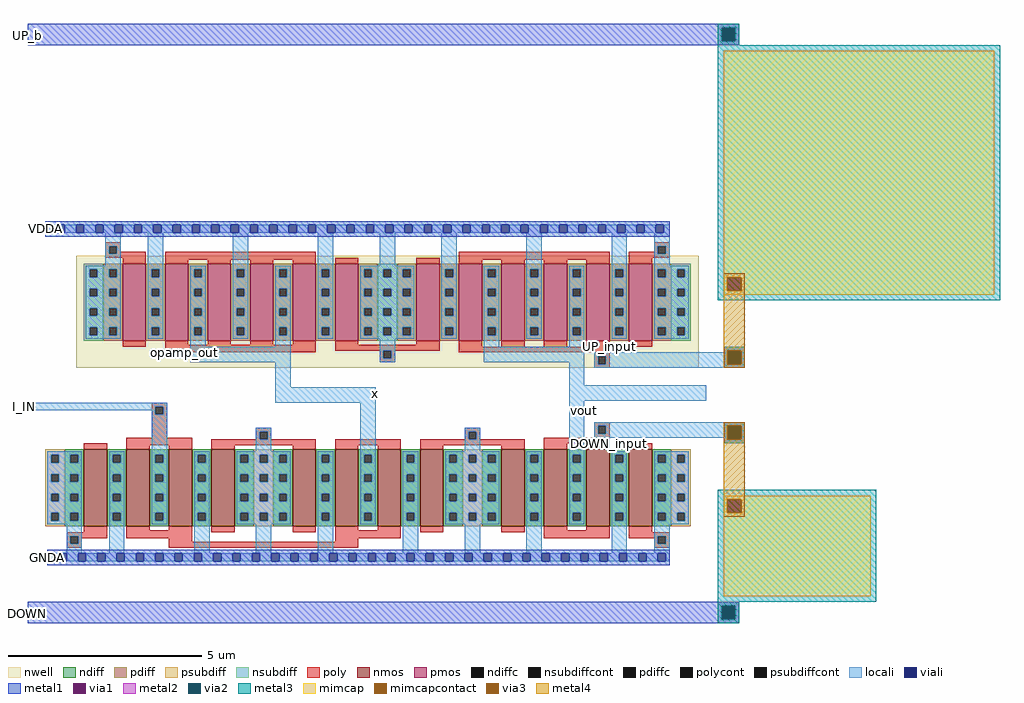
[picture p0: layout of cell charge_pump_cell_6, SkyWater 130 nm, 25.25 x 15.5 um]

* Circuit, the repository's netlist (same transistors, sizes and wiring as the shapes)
* NGSPICE file created from charge_pump_cell_6.ext - technology: sky130A

.subckt charge_pump_cell_6 VDDA GNDA x vout UP_b DOWN I_IN UP_input DOWN_input opamp_out
X0 x I_IN GNDA GNDA sky130_fd_pr__nfet_01v8 ad=0.5 pd=2.5 as=0.5 ps=2.5 w=2 l=0.6
X1 VDDA VDDA VDDA VDDA sky130_fd_pr__pfet_01v8 ad=1 pd=5 as=10 ps=50 w=2 l=0.6
X2 GNDA GNDA GNDA GNDA sky130_fd_pr__nfet_01v8 ad=0.5 pd=2.5 as=12 ps=60 w=2 l=0.6
X3 GNDA I_IN x GNDA sky130_fd_pr__nfet_01v8 ad=0.5 pd=2.5 as=0.5 ps=2.5 w=2 l=0.6
X4 UP_input li_22050_5610# sky130_fd_pr__cap_mim_m3_1 l=6.3 w=5.2
X5 GNDA GNDA GNDA GNDA sky130_fd_pr__nfet_01v8 ad=0.5 pd=2.5 as=0 ps=0 w=2 l=0.6
X6 GNDA GNDA GNDA GNDA sky130_fd_pr__nfet_01v8 ad=1 pd=5 as=0 ps=0 w=2 l=0.6
X7 VDDA VDDA VDDA VDDA sky130_fd_pr__pfet_01v8 ad=0.5 pd=2.5 as=0 ps=0 w=2 l=0.6
X8 vout DOWN_input GNDA GNDA sky130_fd_pr__nfet_01v8 ad=0.5 pd=2.5 as=0.5 ps=2.5 w=2 l=0.6
X9 GNDA DOWN_input vout GNDA sky130_fd_pr__nfet_01v8 ad=0.5 pd=2.5 as=0.5 ps=2.5 w=2 l=0.6
X10 GNDA GNDA GNDA GNDA sky130_fd_pr__nfet_01v8 ad=1 pd=5 as=0 ps=0 w=2 l=0.6
X11 x opamp_out VDDA VDDA sky130_fd_pr__pfet_01v8 ad=0.5 pd=2.5 as=0.5 ps=2.5 w=2 l=0.6
X12 GNDA I_IN I_IN GNDA sky130_fd_pr__nfet_01v8 ad=0.5 pd=2.5 as=0.5 ps=2.5 w=2 l=0.6
X13 VDDA VDDA VDDA VDDA sky130_fd_pr__pfet_01v8 ad=0.5 pd=2.5 as=0 ps=0 w=2 l=0.6
X14 VDDA VDDA VDDA VDDA sky130_fd_pr__pfet_01v8 ad=1 pd=5 as=0 ps=0 w=2 l=0.6
X15 VDDA opamp_out x VDDA sky130_fd_pr__pfet_01v8 ad=0.5 pd=2.5 as=0.5 ps=2.5 w=2 l=0.6
X16 I_IN I_IN GNDA GNDA sky130_fd_pr__nfet_01v8 ad=0.5 pd=2.5 as=0.5 ps=2.5 w=2 l=0.6
X17 vout UP_input VDDA VDDA sky130_fd_pr__pfet_01v8 ad=0.5 pd=2.5 as=0.5 ps=2.5 w=2 l=0.6
X18 VDDA UP_input vout VDDA sky130_fd_pr__pfet_01v8 ad=0.5 pd=2.5 as=0.5 ps=2.5 w=2 l=0.6
X19 x opamp_out VDDA VDDA sky130_fd_pr__pfet_01v8 ad=0.5 pd=2.5 as=0.5 ps=2.5 w=2 l=0.6
X20 GNDA GNDA GNDA GNDA sky130_fd_pr__nfet_01v8 ad=1 pd=5 as=0 ps=0 w=2 l=0.6
X21 VDDA opamp_out x VDDA sky130_fd_pr__pfet_01v8 ad=0.5 pd=2.5 as=0.5 ps=2.5 w=2 l=0.6
X22 VDDA UP_input vout VDDA sky130_fd_pr__pfet_01v8 ad=0.5 pd=2.5 as=0.5 ps=2.5 w=2 l=0.6
X23 DOWN_input li_22160_3230# sky130_fd_pr__cap_mim_m3_1 l=3.8 w=2.7
X24 GNDA GNDA GNDA GNDA sky130_fd_pr__nfet_01v8 ad=0.5 pd=2.5 as=0 ps=0 w=2 l=0.6
X25 vout UP_input VDDA VDDA sky130_fd_pr__pfet_01v8 ad=0.5 pd=2.5 as=0.5 ps=2.5 w=2 l=0.6
.ends

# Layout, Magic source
magic
tech sky130A
<< nwell >>
rect 9230 2215 10840 2505
<< nmos >>
rect 9250 1805 9310 2005
rect 9360 1805 9420 2005
rect 9470 1805 9530 2005
rect 9580 1805 9640 2005
rect 9790 1805 9850 2005
rect 9900 1805 9960 2005
rect 10010 1805 10070 2005
rect 10120 1805 10180 2005
rect 10330 1805 10390 2005
rect 10440 1805 10500 2005
rect 10550 1805 10610 2005
rect 10660 1805 10720 2005
<< pmos >>
rect 9350 2285 9410 2485
rect 9460 2285 9520 2485
rect 9570 2285 9630 2485
rect 9680 2285 9740 2485
rect 9790 2285 9850 2485
rect 9900 2285 9960 2485
rect 10110 2285 10170 2485
rect 10220 2285 10280 2485
rect 10330 2285 10390 2485
rect 10440 2285 10500 2485
rect 10550 2285 10610 2485
rect 10660 2285 10720 2485
<< ndiff >>
rect 9200 1990 9250 2005
rect 9200 1970 9215 1990
rect 9235 1970 9250 1990
rect 9200 1940 9250 1970
rect 9200 1920 9215 1940
rect 9235 1920 9250 1940
rect 9200 1890 9250 1920
rect 9200 1870 9215 1890
rect 9235 1870 9250 1890
rect 9200 1840 9250 1870
rect 9200 1820 9215 1840
rect 9235 1820 9250 1840
rect 9200 1805 9250 1820
rect 9310 1990 9360 2005
rect 9310 1970 9325 1990
rect 9345 1970 9360 1990
rect 9310 1940 9360 1970
rect 9310 1920 9325 1940
rect 9345 1920 9360 1940
rect 9310 1890 9360 1920
rect 9310 1870 9325 1890
rect 9345 1870 9360 1890
rect 9310 1840 9360 1870
rect 9310 1820 9325 1840
rect 9345 1820 9360 1840
rect 9310 1805 9360 1820
rect 9420 1990 9470 2005
rect 9420 1970 9435 1990
rect 9455 1970 9470 1990
rect 9420 1940 9470 1970
rect 9420 1920 9435 1940
rect 9455 1920 9470 1940
rect 9420 1890 9470 1920
rect 9420 1870 9435 1890
rect 9455 1870 9470 1890
rect 9420 1840 9470 1870
rect 9420 1820 9435 1840
rect 9455 1820 9470 1840
rect 9420 1805 9470 1820
rect 9530 1990 9580 2005
rect 9530 1970 9545 1990
rect 9565 1970 9580 1990
rect 9530 1940 9580 1970
rect 9530 1920 9545 1940
rect 9565 1920 9580 1940
rect 9530 1890 9580 1920
rect 9530 1870 9545 1890
rect 9565 1870 9580 1890
rect 9530 1840 9580 1870
rect 9530 1820 9545 1840
rect 9565 1820 9580 1840
rect 9530 1805 9580 1820
rect 9640 1990 9690 2005
rect 9740 1990 9790 2005
rect 9640 1970 9655 1990
rect 9675 1970 9690 1990
rect 9740 1970 9755 1990
rect 9775 1970 9790 1990
rect 9640 1940 9690 1970
rect 9740 1940 9790 1970
rect 9640 1920 9655 1940
rect 9675 1920 9690 1940
rect 9740 1920 9755 1940
rect 9775 1920 9790 1940
rect 9640 1890 9690 1920
rect 9740 1890 9790 1920
rect 9640 1870 9655 1890
rect 9675 1870 9690 1890
rect 9740 1870 9755 1890
rect 9775 1870 9790 1890
rect 9640 1840 9690 1870
rect 9740 1840 9790 1870
rect 9640 1820 9655 1840
rect 9675 1820 9690 1840
rect 9740 1820 9755 1840
rect 9775 1820 9790 1840
rect 9640 1805 9690 1820
rect 9740 1805 9790 1820
rect 9850 1990 9900 2005
rect 9850 1970 9865 1990
rect 9885 1970 9900 1990
rect 9850 1940 9900 1970
rect 9850 1920 9865 1940
rect 9885 1920 9900 1940
rect 9850 1890 9900 1920
rect 9850 1870 9865 1890
rect 9885 1870 9900 1890
rect 9850 1840 9900 1870
rect 9850 1820 9865 1840
rect 9885 1820 9900 1840
rect 9850 1805 9900 1820
rect 9960 1990 10010 2005
rect 9960 1970 9975 1990
rect 9995 1970 10010 1990
rect 9960 1940 10010 1970
rect 9960 1920 9975 1940
rect 9995 1920 10010 1940
rect 9960 1890 10010 1920
rect 9960 1870 9975 1890
rect 9995 1870 10010 1890
rect 9960 1840 10010 1870
rect 9960 1820 9975 1840
rect 9995 1820 10010 1840
rect 9960 1805 10010 1820
rect 10070 1990 10120 2005
rect 10070 1970 10085 1990
rect 10105 1970 10120 1990
rect 10070 1940 10120 1970
rect 10070 1920 10085 1940
rect 10105 1920 10120 1940
rect 10070 1890 10120 1920
rect 10070 1870 10085 1890
rect 10105 1870 10120 1890
rect 10070 1840 10120 1870
rect 10070 1820 10085 1840
rect 10105 1820 10120 1840
rect 10070 1805 10120 1820
rect 10180 1990 10230 2005
rect 10280 1990 10330 2005
rect 10180 1970 10195 1990
rect 10215 1970 10230 1990
rect 10280 1970 10295 1990
rect 10315 1970 10330 1990
rect 10180 1940 10230 1970
rect 10280 1940 10330 1970
rect 10180 1920 10195 1940
rect 10215 1920 10230 1940
rect 10280 1920 10295 1940
rect 10315 1920 10330 1940
rect 10180 1890 10230 1920
rect 10280 1890 10330 1920
rect 10180 1870 10195 1890
rect 10215 1870 10230 1890
rect 10280 1870 10295 1890
rect 10315 1870 10330 1890
rect 10180 1840 10230 1870
rect 10280 1840 10330 1870
rect 10180 1820 10195 1840
rect 10215 1820 10230 1840
rect 10280 1820 10295 1840
rect 10315 1820 10330 1840
rect 10180 1805 10230 1820
rect 10280 1805 10330 1820
rect 10390 1990 10440 2005
rect 10390 1970 10405 1990
rect 10425 1970 10440 1990
rect 10390 1940 10440 1970
rect 10390 1920 10405 1940
rect 10425 1920 10440 1940
rect 10390 1890 10440 1920
rect 10390 1870 10405 1890
rect 10425 1870 10440 1890
rect 10390 1840 10440 1870
rect 10390 1820 10405 1840
rect 10425 1820 10440 1840
rect 10390 1805 10440 1820
rect 10500 1990 10550 2005
rect 10500 1970 10515 1990
rect 10535 1970 10550 1990
rect 10500 1940 10550 1970
rect 10500 1920 10515 1940
rect 10535 1920 10550 1940
rect 10500 1890 10550 1920
rect 10500 1870 10515 1890
rect 10535 1870 10550 1890
rect 10500 1840 10550 1870
rect 10500 1820 10515 1840
rect 10535 1820 10550 1840
rect 10500 1805 10550 1820
rect 10610 1990 10660 2005
rect 10610 1970 10625 1990
rect 10645 1970 10660 1990
rect 10610 1940 10660 1970
rect 10610 1920 10625 1940
rect 10645 1920 10660 1940
rect 10610 1890 10660 1920
rect 10610 1870 10625 1890
rect 10645 1870 10660 1890
rect 10610 1840 10660 1870
rect 10610 1820 10625 1840
rect 10645 1820 10660 1840
rect 10610 1805 10660 1820
rect 10720 1990 10770 2005
rect 10720 1970 10735 1990
rect 10755 1970 10770 1990
rect 10720 1940 10770 1970
rect 10720 1920 10735 1940
rect 10755 1920 10770 1940
rect 10720 1890 10770 1920
rect 10720 1870 10735 1890
rect 10755 1870 10770 1890
rect 10720 1840 10770 1870
rect 10720 1820 10735 1840
rect 10755 1820 10770 1840
rect 10720 1805 10770 1820
<< pdiff >>
rect 9300 2470 9350 2485
rect 9300 2450 9315 2470
rect 9335 2450 9350 2470
rect 9300 2420 9350 2450
rect 9300 2400 9315 2420
rect 9335 2400 9350 2420
rect 9300 2370 9350 2400
rect 9300 2350 9315 2370
rect 9335 2350 9350 2370
rect 9300 2320 9350 2350
rect 9300 2300 9315 2320
rect 9335 2300 9350 2320
rect 9300 2285 9350 2300
rect 9410 2470 9460 2485
rect 9410 2450 9425 2470
rect 9445 2450 9460 2470
rect 9410 2420 9460 2450
rect 9410 2400 9425 2420
rect 9445 2400 9460 2420
rect 9410 2370 9460 2400
rect 9410 2350 9425 2370
rect 9445 2350 9460 2370
rect 9410 2320 9460 2350
rect 9410 2300 9425 2320
rect 9445 2300 9460 2320
rect 9410 2285 9460 2300
rect 9520 2470 9570 2485
rect 9520 2450 9535 2470
rect 9555 2450 9570 2470
rect 9520 2420 9570 2450
rect 9520 2400 9535 2420
rect 9555 2400 9570 2420
rect 9520 2370 9570 2400
rect 9520 2350 9535 2370
rect 9555 2350 9570 2370
rect 9520 2320 9570 2350
rect 9520 2300 9535 2320
rect 9555 2300 9570 2320
rect 9520 2285 9570 2300
rect 9630 2470 9680 2485
rect 9630 2450 9645 2470
rect 9665 2450 9680 2470
rect 9630 2420 9680 2450
rect 9630 2400 9645 2420
rect 9665 2400 9680 2420
rect 9630 2370 9680 2400
rect 9630 2350 9645 2370
rect 9665 2350 9680 2370
rect 9630 2320 9680 2350
rect 9630 2300 9645 2320
rect 9665 2300 9680 2320
rect 9630 2285 9680 2300
rect 9740 2470 9790 2485
rect 9740 2450 9755 2470
rect 9775 2450 9790 2470
rect 9740 2420 9790 2450
rect 9740 2400 9755 2420
rect 9775 2400 9790 2420
rect 9740 2370 9790 2400
rect 9740 2350 9755 2370
rect 9775 2350 9790 2370
rect 9740 2320 9790 2350
rect 9740 2300 9755 2320
rect 9775 2300 9790 2320
rect 9740 2285 9790 2300
rect 9850 2470 9900 2485
rect 9850 2450 9865 2470
rect 9885 2450 9900 2470
rect 9850 2420 9900 2450
rect 9850 2400 9865 2420
rect 9885 2400 9900 2420
rect 9850 2370 9900 2400
rect 9850 2350 9865 2370
rect 9885 2350 9900 2370
rect 9850 2320 9900 2350
rect 9850 2300 9865 2320
rect 9885 2300 9900 2320
rect 9850 2285 9900 2300
rect 9960 2470 10010 2485
rect 10060 2470 10110 2485
rect 9960 2450 9975 2470
rect 9995 2450 10010 2470
rect 10060 2450 10075 2470
rect 10095 2450 10110 2470
rect 9960 2420 10010 2450
rect 10060 2420 10110 2450
rect 9960 2400 9975 2420
rect 9995 2400 10010 2420
rect 10060 2400 10075 2420
rect 10095 2400 10110 2420
rect 9960 2370 10010 2400
rect 10060 2370 10110 2400
rect 9960 2350 9975 2370
rect 9995 2350 10010 2370
rect 10060 2350 10075 2370
rect 10095 2350 10110 2370
rect 9960 2320 10010 2350
rect 10060 2320 10110 2350
rect 9960 2300 9975 2320
rect 9995 2300 10010 2320
rect 10060 2300 10075 2320
rect 10095 2300 10110 2320
rect 9960 2285 10010 2300
rect 10060 2285 10110 2300
rect 10170 2470 10220 2485
rect 10170 2450 10185 2470
rect 10205 2450 10220 2470
rect 10170 2420 10220 2450
rect 10170 2400 10185 2420
rect 10205 2400 10220 2420
rect 10170 2370 10220 2400
rect 10170 2350 10185 2370
rect 10205 2350 10220 2370
rect 10170 2320 10220 2350
rect 10170 2300 10185 2320
rect 10205 2300 10220 2320
rect 10170 2285 10220 2300
rect 10280 2470 10330 2485
rect 10280 2450 10295 2470
rect 10315 2450 10330 2470
rect 10280 2420 10330 2450
rect 10280 2400 10295 2420
rect 10315 2400 10330 2420
rect 10280 2370 10330 2400
rect 10280 2350 10295 2370
rect 10315 2350 10330 2370
rect 10280 2320 10330 2350
rect 10280 2300 10295 2320
rect 10315 2300 10330 2320
rect 10280 2285 10330 2300
rect 10390 2470 10440 2485
rect 10390 2450 10405 2470
rect 10425 2450 10440 2470
rect 10390 2420 10440 2450
rect 10390 2400 10405 2420
rect 10425 2400 10440 2420
rect 10390 2370 10440 2400
rect 10390 2350 10405 2370
rect 10425 2350 10440 2370
rect 10390 2320 10440 2350
rect 10390 2300 10405 2320
rect 10425 2300 10440 2320
rect 10390 2285 10440 2300
rect 10500 2470 10550 2485
rect 10500 2450 10515 2470
rect 10535 2450 10550 2470
rect 10500 2420 10550 2450
rect 10500 2400 10515 2420
rect 10535 2400 10550 2420
rect 10500 2370 10550 2400
rect 10500 2350 10515 2370
rect 10535 2350 10550 2370
rect 10500 2320 10550 2350
rect 10500 2300 10515 2320
rect 10535 2300 10550 2320
rect 10500 2285 10550 2300
rect 10610 2470 10660 2485
rect 10610 2450 10625 2470
rect 10645 2450 10660 2470
rect 10610 2420 10660 2450
rect 10610 2400 10625 2420
rect 10645 2400 10660 2420
rect 10610 2370 10660 2400
rect 10610 2350 10625 2370
rect 10645 2350 10660 2370
rect 10610 2320 10660 2350
rect 10610 2300 10625 2320
rect 10645 2300 10660 2320
rect 10610 2285 10660 2300
rect 10720 2470 10770 2485
rect 10720 2450 10735 2470
rect 10755 2450 10770 2470
rect 10720 2420 10770 2450
rect 10720 2400 10735 2420
rect 10755 2400 10770 2420
rect 10720 2370 10770 2400
rect 10720 2350 10735 2370
rect 10755 2350 10770 2370
rect 10720 2320 10770 2350
rect 10720 2300 10735 2320
rect 10755 2300 10770 2320
rect 10720 2285 10770 2300
<< ndiffc >>
rect 9215 1970 9235 1990
rect 9215 1920 9235 1940
rect 9215 1870 9235 1890
rect 9215 1820 9235 1840
rect 9325 1970 9345 1990
rect 9325 1920 9345 1940
rect 9325 1870 9345 1890
rect 9325 1820 9345 1840
rect 9435 1970 9455 1990
rect 9435 1920 9455 1940
rect 9435 1870 9455 1890
rect 9435 1820 9455 1840
rect 9545 1970 9565 1990
rect 9545 1920 9565 1940
rect 9545 1870 9565 1890
rect 9545 1820 9565 1840
rect 9655 1970 9675 1990
rect 9755 1970 9775 1990
rect 9655 1920 9675 1940
rect 9755 1920 9775 1940
rect 9655 1870 9675 1890
rect 9755 1870 9775 1890
rect 9655 1820 9675 1840
rect 9755 1820 9775 1840
rect 9865 1970 9885 1990
rect 9865 1920 9885 1940
rect 9865 1870 9885 1890
rect 9865 1820 9885 1840
rect 9975 1970 9995 1990
rect 9975 1920 9995 1940
rect 9975 1870 9995 1890
rect 9975 1820 9995 1840
rect 10085 1970 10105 1990
rect 10085 1920 10105 1940
rect 10085 1870 10105 1890
rect 10085 1820 10105 1840
rect 10195 1970 10215 1990
rect 10295 1970 10315 1990
rect 10195 1920 10215 1940
rect 10295 1920 10315 1940
rect 10195 1870 10215 1890
rect 10295 1870 10315 1890
rect 10195 1820 10215 1840
rect 10295 1820 10315 1840
rect 10405 1970 10425 1990
rect 10405 1920 10425 1940
rect 10405 1870 10425 1890
rect 10405 1820 10425 1840
rect 10515 1970 10535 1990
rect 10515 1920 10535 1940
rect 10515 1870 10535 1890
rect 10515 1820 10535 1840
rect 10625 1970 10645 1990
rect 10625 1920 10645 1940
rect 10625 1870 10645 1890
rect 10625 1820 10645 1840
rect 10735 1970 10755 1990
rect 10735 1920 10755 1940
rect 10735 1870 10755 1890
rect 10735 1820 10755 1840
<< pdiffc >>
rect 9315 2450 9335 2470
rect 9315 2400 9335 2420
rect 9315 2350 9335 2370
rect 9315 2300 9335 2320
rect 9425 2450 9445 2470
rect 9425 2400 9445 2420
rect 9425 2350 9445 2370
rect 9425 2300 9445 2320
rect 9535 2450 9555 2470
rect 9535 2400 9555 2420
rect 9535 2350 9555 2370
rect 9535 2300 9555 2320
rect 9645 2450 9665 2470
rect 9645 2400 9665 2420
rect 9645 2350 9665 2370
rect 9645 2300 9665 2320
rect 9755 2450 9775 2470
rect 9755 2400 9775 2420
rect 9755 2350 9775 2370
rect 9755 2300 9775 2320
rect 9865 2450 9885 2470
rect 9865 2400 9885 2420
rect 9865 2350 9885 2370
rect 9865 2300 9885 2320
rect 9975 2450 9995 2470
rect 10075 2450 10095 2470
rect 9975 2400 9995 2420
rect 10075 2400 10095 2420
rect 9975 2350 9995 2370
rect 10075 2350 10095 2370
rect 9975 2300 9995 2320
rect 10075 2300 10095 2320
rect 10185 2450 10205 2470
rect 10185 2400 10205 2420
rect 10185 2350 10205 2370
rect 10185 2300 10205 2320
rect 10295 2450 10315 2470
rect 10295 2400 10315 2420
rect 10295 2350 10315 2370
rect 10295 2300 10315 2320
rect 10405 2450 10425 2470
rect 10405 2400 10425 2420
rect 10405 2350 10425 2370
rect 10405 2300 10425 2320
rect 10515 2450 10535 2470
rect 10515 2400 10535 2420
rect 10515 2350 10535 2370
rect 10515 2300 10535 2320
rect 10625 2450 10645 2470
rect 10625 2400 10645 2420
rect 10625 2350 10645 2370
rect 10625 2300 10645 2320
rect 10735 2450 10755 2470
rect 10735 2400 10755 2420
rect 10735 2350 10755 2370
rect 10735 2300 10755 2320
<< psubdiff >>
rect 9150 1990 9200 2005
rect 9150 1970 9165 1990
rect 9185 1970 9200 1990
rect 9150 1940 9200 1970
rect 9150 1920 9165 1940
rect 9185 1920 9200 1940
rect 9150 1890 9200 1920
rect 9150 1870 9165 1890
rect 9185 1870 9200 1890
rect 9150 1840 9200 1870
rect 9150 1820 9165 1840
rect 9185 1820 9200 1840
rect 9150 1805 9200 1820
rect 9690 1990 9740 2005
rect 9690 1970 9705 1990
rect 9725 1970 9740 1990
rect 9690 1940 9740 1970
rect 9690 1920 9705 1940
rect 9725 1920 9740 1940
rect 9690 1890 9740 1920
rect 9690 1870 9705 1890
rect 9725 1870 9740 1890
rect 9690 1840 9740 1870
rect 9690 1820 9705 1840
rect 9725 1820 9740 1840
rect 9690 1805 9740 1820
rect 10230 1990 10280 2005
rect 10230 1970 10245 1990
rect 10265 1970 10280 1990
rect 10230 1940 10280 1970
rect 10230 1920 10245 1940
rect 10265 1920 10280 1940
rect 10230 1890 10280 1920
rect 10230 1870 10245 1890
rect 10265 1870 10280 1890
rect 10230 1840 10280 1870
rect 10230 1820 10245 1840
rect 10265 1820 10280 1840
rect 10230 1805 10280 1820
rect 10770 1990 10820 2005
rect 10770 1970 10785 1990
rect 10805 1970 10820 1990
rect 10770 1940 10820 1970
rect 10770 1920 10785 1940
rect 10805 1920 10820 1940
rect 10770 1890 10820 1920
rect 10770 1870 10785 1890
rect 10805 1870 10820 1890
rect 10770 1840 10820 1870
rect 10770 1820 10785 1840
rect 10805 1820 10820 1840
rect 10770 1805 10820 1820
<< nsubdiff >>
rect 9250 2470 9300 2485
rect 9250 2450 9265 2470
rect 9285 2450 9300 2470
rect 9250 2420 9300 2450
rect 9250 2400 9265 2420
rect 9285 2400 9300 2420
rect 9250 2370 9300 2400
rect 9250 2350 9265 2370
rect 9285 2350 9300 2370
rect 9250 2320 9300 2350
rect 9250 2300 9265 2320
rect 9285 2300 9300 2320
rect 9250 2285 9300 2300
rect 10010 2470 10060 2485
rect 10010 2450 10025 2470
rect 10045 2450 10060 2470
rect 10010 2420 10060 2450
rect 10010 2400 10025 2420
rect 10045 2400 10060 2420
rect 10010 2370 10060 2400
rect 10010 2350 10025 2370
rect 10045 2350 10060 2370
rect 10010 2320 10060 2350
rect 10010 2300 10025 2320
rect 10045 2300 10060 2320
rect 10010 2285 10060 2300
rect 10770 2470 10820 2485
rect 10770 2450 10785 2470
rect 10805 2450 10820 2470
rect 10770 2420 10820 2450
rect 10770 2400 10785 2420
rect 10805 2400 10820 2420
rect 10770 2370 10820 2400
rect 10770 2350 10785 2370
rect 10805 2350 10820 2370
rect 10770 2320 10820 2350
rect 10770 2300 10785 2320
rect 10805 2300 10820 2320
rect 10770 2285 10820 2300
<< psubdiffcont >>
rect 9165 1970 9185 1990
rect 9165 1920 9185 1940
rect 9165 1870 9185 1890
rect 9165 1820 9185 1840
rect 9705 1970 9725 1990
rect 9705 1920 9725 1940
rect 9705 1870 9725 1890
rect 9705 1820 9725 1840
rect 10245 1970 10265 1990
rect 10245 1920 10265 1940
rect 10245 1870 10265 1890
rect 10245 1820 10265 1840
rect 10785 1970 10805 1990
rect 10785 1920 10805 1940
rect 10785 1870 10805 1890
rect 10785 1820 10805 1840
<< nsubdiffcont >>
rect 9265 2450 9285 2470
rect 9265 2400 9285 2420
rect 9265 2350 9285 2370
rect 9265 2300 9285 2320
rect 10025 2450 10045 2470
rect 10025 2400 10045 2420
rect 10025 2350 10045 2370
rect 10025 2300 10045 2320
rect 10785 2450 10805 2470
rect 10785 2400 10805 2420
rect 10785 2350 10805 2370
rect 10785 2300 10805 2320
<< poly >>
rect 9305 2530 9345 2540
rect 9305 2510 9315 2530
rect 9335 2515 9345 2530
rect 10725 2530 10765 2540
rect 10725 2515 10735 2530
rect 9335 2510 9410 2515
rect 9305 2500 9410 2510
rect 9350 2485 9410 2500
rect 9460 2495 9850 2515
rect 9460 2485 9520 2495
rect 9570 2485 9630 2495
rect 9680 2485 9740 2495
rect 9790 2485 9850 2495
rect 9900 2485 9960 2500
rect 10110 2485 10170 2500
rect 10220 2495 10610 2515
rect 10220 2485 10280 2495
rect 10330 2485 10390 2495
rect 10440 2485 10500 2495
rect 10550 2485 10610 2495
rect 10660 2510 10735 2515
rect 10755 2510 10765 2530
rect 10660 2500 10765 2510
rect 10660 2485 10720 2500
rect 9350 2270 9410 2285
rect 9460 2275 9520 2285
rect 9570 2275 9630 2285
rect 9680 2275 9740 2285
rect 9790 2275 9850 2285
rect 9460 2255 9850 2275
rect 9900 2275 9960 2285
rect 10110 2275 10170 2285
rect 9900 2260 10170 2275
rect 10220 2270 10280 2285
rect 10330 2270 10390 2285
rect 10440 2270 10500 2285
rect 10550 2270 10610 2285
rect 10660 2270 10720 2285
rect 10015 2240 10025 2260
rect 10045 2240 10055 2260
rect 10220 2255 10610 2270
rect 10015 2230 10055 2240
rect 10570 2245 10610 2255
rect 10570 2225 10580 2245
rect 10600 2225 10610 2245
rect 10570 2215 10610 2225
rect 9425 2115 9465 2125
rect 9425 2095 9435 2115
rect 9455 2095 9465 2115
rect 9425 2035 9465 2095
rect 10570 2065 10610 2075
rect 9695 2050 9735 2060
rect 9250 2005 9310 2020
rect 9360 2015 9530 2035
rect 9695 2030 9705 2050
rect 9725 2030 9735 2050
rect 10235 2050 10275 2060
rect 10235 2030 10245 2050
rect 10265 2030 10275 2050
rect 10570 2045 10580 2065
rect 10600 2045 10610 2065
rect 10570 2035 10610 2045
rect 9360 2005 9420 2015
rect 9470 2005 9530 2015
rect 9580 2015 9850 2030
rect 9580 2005 9640 2015
rect 9790 2005 9850 2015
rect 9900 2015 10070 2030
rect 9900 2005 9960 2015
rect 10010 2005 10070 2015
rect 10120 2015 10390 2030
rect 10120 2005 10180 2015
rect 10330 2005 10390 2015
rect 10440 2020 10610 2035
rect 10440 2005 10500 2020
rect 10550 2005 10610 2020
rect 10660 2005 10720 2020
rect 9250 1790 9310 1805
rect 9205 1780 9310 1790
rect 9205 1760 9215 1780
rect 9235 1775 9310 1780
rect 9360 1795 9420 1805
rect 9470 1795 9530 1805
rect 9360 1775 9530 1795
rect 9580 1790 9640 1805
rect 9790 1790 9850 1805
rect 9900 1795 9960 1805
rect 10010 1795 10070 1805
rect 9235 1760 9245 1775
rect 9205 1750 9245 1760
rect 9470 1765 9530 1775
rect 9900 1775 10070 1795
rect 10120 1790 10180 1805
rect 10330 1790 10390 1805
rect 10440 1795 10500 1805
rect 10550 1795 10610 1805
rect 10440 1775 10610 1795
rect 10660 1790 10720 1805
rect 10660 1780 10765 1790
rect 10660 1775 10735 1780
rect 9900 1765 9960 1775
rect 9470 1750 9960 1765
rect 10725 1760 10735 1775
rect 10755 1760 10765 1780
rect 10725 1750 10765 1760
<< polycont >>
rect 9315 2510 9335 2530
rect 10735 2510 10755 2530
rect 10025 2240 10045 2260
rect 10580 2225 10600 2245
rect 9435 2095 9455 2115
rect 9705 2030 9725 2050
rect 10245 2030 10265 2050
rect 10580 2045 10600 2065
rect 9215 1760 9235 1780
rect 10735 1760 10755 1780
<< locali >>
rect 10890 3095 10945 3105
rect 10890 3060 10900 3095
rect 10935 3060 10945 3095
rect 10890 3050 10945 3060
rect 9150 2565 9180 2585
rect 9200 2565 9230 2585
rect 9250 2565 9280 2585
rect 9300 2565 9330 2585
rect 9350 2565 9380 2585
rect 9400 2565 9430 2585
rect 9450 2565 9480 2585
rect 9500 2565 9530 2585
rect 9550 2565 9580 2585
rect 9600 2565 9630 2585
rect 9650 2565 9680 2585
rect 9700 2565 9730 2585
rect 9750 2565 9780 2585
rect 9800 2565 9830 2585
rect 9850 2565 9880 2585
rect 9900 2565 9930 2585
rect 9950 2565 9980 2585
rect 10000 2565 10030 2585
rect 10050 2565 10080 2585
rect 10100 2565 10130 2585
rect 10150 2565 10180 2585
rect 10200 2565 10230 2585
rect 10250 2565 10280 2585
rect 10300 2565 10330 2585
rect 10350 2565 10380 2585
rect 10400 2565 10430 2585
rect 10450 2565 10480 2585
rect 10500 2565 10530 2585
rect 10550 2565 10580 2585
rect 10600 2565 10630 2585
rect 10650 2565 10680 2585
rect 10700 2565 10730 2585
rect 10750 2565 10765 2585
rect 9305 2530 9345 2565
rect 9305 2510 9315 2530
rect 9335 2510 9345 2530
rect 9305 2480 9345 2510
rect 9255 2470 9345 2480
rect 9255 2450 9265 2470
rect 9285 2450 9315 2470
rect 9335 2450 9345 2470
rect 9255 2420 9345 2450
rect 9255 2400 9265 2420
rect 9285 2400 9315 2420
rect 9335 2400 9345 2420
rect 9255 2370 9345 2400
rect 9255 2350 9265 2370
rect 9285 2350 9315 2370
rect 9335 2350 9345 2370
rect 9255 2320 9345 2350
rect 9255 2300 9265 2320
rect 9285 2300 9315 2320
rect 9335 2300 9345 2320
rect 9255 2290 9345 2300
rect 9415 2470 9455 2565
rect 9415 2450 9425 2470
rect 9445 2450 9455 2470
rect 9415 2420 9455 2450
rect 9415 2400 9425 2420
rect 9445 2400 9455 2420
rect 9415 2370 9455 2400
rect 9415 2350 9425 2370
rect 9445 2350 9455 2370
rect 9415 2320 9455 2350
rect 9415 2300 9425 2320
rect 9445 2300 9455 2320
rect 9415 2290 9455 2300
rect 9525 2470 9565 2480
rect 9525 2450 9535 2470
rect 9555 2450 9565 2470
rect 9525 2420 9565 2450
rect 9525 2400 9535 2420
rect 9555 2400 9565 2420
rect 9525 2370 9565 2400
rect 9525 2350 9535 2370
rect 9555 2350 9565 2370
rect 9525 2320 9565 2350
rect 9525 2300 9535 2320
rect 9555 2300 9565 2320
rect 9525 2270 9565 2300
rect 9635 2470 9675 2565
rect 9635 2450 9645 2470
rect 9665 2450 9675 2470
rect 9635 2420 9675 2450
rect 9635 2400 9645 2420
rect 9665 2400 9675 2420
rect 9635 2370 9675 2400
rect 9635 2350 9645 2370
rect 9665 2350 9675 2370
rect 9635 2320 9675 2350
rect 9635 2300 9645 2320
rect 9665 2300 9675 2320
rect 9635 2290 9675 2300
rect 9745 2470 9785 2480
rect 9745 2450 9755 2470
rect 9775 2450 9785 2470
rect 9745 2420 9785 2450
rect 9745 2400 9755 2420
rect 9775 2400 9785 2420
rect 9745 2370 9785 2400
rect 9745 2350 9755 2370
rect 9775 2350 9785 2370
rect 9745 2320 9785 2350
rect 9745 2300 9755 2320
rect 9775 2300 9785 2320
rect 9745 2270 9785 2300
rect 9855 2470 9895 2565
rect 10015 2480 10055 2565
rect 9855 2450 9865 2470
rect 9885 2450 9895 2470
rect 9855 2420 9895 2450
rect 9855 2400 9865 2420
rect 9885 2400 9895 2420
rect 9855 2370 9895 2400
rect 9855 2350 9865 2370
rect 9885 2350 9895 2370
rect 9855 2320 9895 2350
rect 9855 2300 9865 2320
rect 9885 2300 9895 2320
rect 9855 2290 9895 2300
rect 9965 2470 10105 2480
rect 9965 2450 9975 2470
rect 9995 2450 10025 2470
rect 10045 2450 10075 2470
rect 10095 2450 10105 2470
rect 9965 2420 10105 2450
rect 9965 2400 9975 2420
rect 9995 2400 10025 2420
rect 10045 2400 10075 2420
rect 10095 2400 10105 2420
rect 9965 2370 10105 2400
rect 9965 2350 9975 2370
rect 9995 2350 10025 2370
rect 10045 2350 10075 2370
rect 10095 2350 10105 2370
rect 9965 2320 10105 2350
rect 9965 2300 9975 2320
rect 9995 2300 10025 2320
rect 10045 2300 10075 2320
rect 10095 2300 10105 2320
rect 9965 2290 10105 2300
rect 10175 2470 10215 2565
rect 10175 2450 10185 2470
rect 10205 2450 10215 2470
rect 10175 2420 10215 2450
rect 10175 2400 10185 2420
rect 10205 2400 10215 2420
rect 10175 2370 10215 2400
rect 10175 2350 10185 2370
rect 10205 2350 10215 2370
rect 10175 2320 10215 2350
rect 10175 2300 10185 2320
rect 10205 2300 10215 2320
rect 10175 2290 10215 2300
rect 10285 2470 10325 2480
rect 10285 2450 10295 2470
rect 10315 2450 10325 2470
rect 10285 2420 10325 2450
rect 10285 2400 10295 2420
rect 10315 2400 10325 2420
rect 10285 2370 10325 2400
rect 10285 2350 10295 2370
rect 10315 2350 10325 2370
rect 10285 2320 10325 2350
rect 10285 2300 10295 2320
rect 10315 2300 10325 2320
rect 9525 2230 9785 2270
rect 10015 2260 10055 2290
rect 10015 2240 10025 2260
rect 10045 2240 10055 2260
rect 10015 2230 10055 2240
rect 10285 2270 10325 2300
rect 10395 2470 10435 2565
rect 10395 2450 10405 2470
rect 10425 2450 10435 2470
rect 10395 2420 10435 2450
rect 10395 2400 10405 2420
rect 10425 2400 10435 2420
rect 10395 2370 10435 2400
rect 10395 2350 10405 2370
rect 10425 2350 10435 2370
rect 10395 2320 10435 2350
rect 10395 2300 10405 2320
rect 10425 2300 10435 2320
rect 10395 2290 10435 2300
rect 10505 2470 10545 2480
rect 10505 2450 10515 2470
rect 10535 2450 10545 2470
rect 10505 2420 10545 2450
rect 10505 2400 10515 2420
rect 10535 2400 10545 2420
rect 10505 2370 10545 2400
rect 10505 2350 10515 2370
rect 10535 2350 10545 2370
rect 10505 2320 10545 2350
rect 10505 2300 10515 2320
rect 10535 2300 10545 2320
rect 10505 2270 10545 2300
rect 10615 2470 10655 2565
rect 10615 2450 10625 2470
rect 10645 2450 10655 2470
rect 10615 2420 10655 2450
rect 10615 2400 10625 2420
rect 10645 2400 10655 2420
rect 10615 2370 10655 2400
rect 10615 2350 10625 2370
rect 10645 2350 10655 2370
rect 10615 2320 10655 2350
rect 10615 2300 10625 2320
rect 10645 2300 10655 2320
rect 10615 2290 10655 2300
rect 10725 2530 10765 2565
rect 10725 2510 10735 2530
rect 10755 2510 10765 2530
rect 10725 2480 10765 2510
rect 10725 2470 10815 2480
rect 10725 2450 10735 2470
rect 10755 2450 10785 2470
rect 10805 2450 10815 2470
rect 10725 2420 10815 2450
rect 10725 2400 10735 2420
rect 10755 2400 10785 2420
rect 10805 2400 10815 2420
rect 10725 2370 10815 2400
rect 10725 2350 10735 2370
rect 10755 2350 10785 2370
rect 10805 2350 10815 2370
rect 10725 2320 10815 2350
rect 10725 2300 10735 2320
rect 10755 2300 10785 2320
rect 10805 2300 10815 2320
rect 10725 2290 10815 2300
rect 10285 2230 10545 2270
rect 10905 2260 10960 2270
rect 10905 2255 10915 2260
rect 9745 2165 9785 2230
rect 10505 2170 10545 2230
rect 10570 2245 10915 2255
rect 10570 2225 10580 2245
rect 10600 2225 10915 2245
rect 10950 2225 10960 2260
rect 10570 2215 10960 2225
rect 9745 2125 10005 2165
rect 9095 2115 9465 2125
rect 9095 2105 9435 2115
rect 9425 2095 9435 2105
rect 9455 2095 9465 2115
rect 9155 1990 9245 2000
rect 9155 1970 9165 1990
rect 9185 1970 9215 1990
rect 9235 1970 9245 1990
rect 9155 1940 9245 1970
rect 9155 1920 9165 1940
rect 9185 1920 9215 1940
rect 9235 1920 9245 1940
rect 9155 1890 9245 1920
rect 9155 1870 9165 1890
rect 9185 1870 9215 1890
rect 9235 1870 9245 1890
rect 9155 1840 9245 1870
rect 9155 1820 9165 1840
rect 9185 1820 9215 1840
rect 9235 1820 9245 1840
rect 9155 1810 9245 1820
rect 9205 1780 9245 1810
rect 9205 1760 9215 1780
rect 9235 1760 9245 1780
rect 9205 1735 9245 1760
rect 9315 1990 9355 2000
rect 9315 1970 9325 1990
rect 9345 1970 9355 1990
rect 9315 1940 9355 1970
rect 9315 1920 9325 1940
rect 9345 1920 9355 1940
rect 9315 1890 9355 1920
rect 9315 1870 9325 1890
rect 9345 1870 9355 1890
rect 9315 1840 9355 1870
rect 9315 1820 9325 1840
rect 9345 1820 9355 1840
rect 9315 1735 9355 1820
rect 9425 1990 9465 2095
rect 9695 2050 9735 2060
rect 9695 2030 9705 2050
rect 9725 2030 9735 2050
rect 9695 2000 9735 2030
rect 9425 1970 9435 1990
rect 9455 1970 9465 1990
rect 9425 1940 9465 1970
rect 9425 1920 9435 1940
rect 9455 1920 9465 1940
rect 9425 1890 9465 1920
rect 9425 1870 9435 1890
rect 9455 1870 9465 1890
rect 9425 1840 9465 1870
rect 9425 1820 9435 1840
rect 9455 1820 9465 1840
rect 9425 1810 9465 1820
rect 9535 1990 9575 2000
rect 9535 1970 9545 1990
rect 9565 1970 9575 1990
rect 9535 1940 9575 1970
rect 9535 1920 9545 1940
rect 9565 1920 9575 1940
rect 9535 1890 9575 1920
rect 9535 1870 9545 1890
rect 9565 1870 9575 1890
rect 9535 1840 9575 1870
rect 9535 1820 9545 1840
rect 9565 1820 9575 1840
rect 9535 1735 9575 1820
rect 9645 1990 9785 2000
rect 9645 1970 9655 1990
rect 9675 1970 9705 1990
rect 9725 1970 9755 1990
rect 9775 1970 9785 1990
rect 9645 1940 9785 1970
rect 9645 1920 9655 1940
rect 9675 1920 9705 1940
rect 9725 1920 9755 1940
rect 9775 1920 9785 1940
rect 9645 1890 9785 1920
rect 9645 1870 9655 1890
rect 9675 1870 9705 1890
rect 9725 1870 9755 1890
rect 9775 1870 9785 1890
rect 9645 1840 9785 1870
rect 9645 1820 9655 1840
rect 9675 1820 9705 1840
rect 9725 1820 9755 1840
rect 9775 1820 9785 1840
rect 9645 1810 9785 1820
rect 9855 1990 9895 2000
rect 9855 1970 9865 1990
rect 9885 1970 9895 1990
rect 9855 1940 9895 1970
rect 9855 1920 9865 1940
rect 9885 1920 9895 1940
rect 9855 1890 9895 1920
rect 9855 1870 9865 1890
rect 9885 1870 9895 1890
rect 9855 1840 9895 1870
rect 9855 1820 9865 1840
rect 9885 1820 9895 1840
rect 9695 1735 9735 1810
rect 9855 1735 9895 1820
rect 9965 1990 10005 2125
rect 10505 2130 10860 2170
rect 10235 2050 10275 2060
rect 10235 2030 10245 2050
rect 10265 2030 10275 2050
rect 10235 2000 10275 2030
rect 9965 1970 9975 1990
rect 9995 1970 10005 1990
rect 9965 1940 10005 1970
rect 9965 1920 9975 1940
rect 9995 1920 10005 1940
rect 9965 1890 10005 1920
rect 9965 1870 9975 1890
rect 9995 1870 10005 1890
rect 9965 1840 10005 1870
rect 9965 1820 9975 1840
rect 9995 1820 10005 1840
rect 9965 1810 10005 1820
rect 10075 1990 10115 2000
rect 10075 1970 10085 1990
rect 10105 1970 10115 1990
rect 10075 1940 10115 1970
rect 10075 1920 10085 1940
rect 10105 1920 10115 1940
rect 10075 1890 10115 1920
rect 10075 1870 10085 1890
rect 10105 1870 10115 1890
rect 10075 1840 10115 1870
rect 10075 1820 10085 1840
rect 10105 1820 10115 1840
rect 10075 1735 10115 1820
rect 10185 1990 10325 2000
rect 10185 1970 10195 1990
rect 10215 1970 10245 1990
rect 10265 1970 10295 1990
rect 10315 1970 10325 1990
rect 10185 1940 10325 1970
rect 10185 1920 10195 1940
rect 10215 1920 10245 1940
rect 10265 1920 10295 1940
rect 10315 1920 10325 1940
rect 10185 1890 10325 1920
rect 10185 1870 10195 1890
rect 10215 1870 10245 1890
rect 10265 1870 10295 1890
rect 10315 1870 10325 1890
rect 10185 1840 10325 1870
rect 10185 1820 10195 1840
rect 10215 1820 10245 1840
rect 10265 1820 10295 1840
rect 10315 1820 10325 1840
rect 10185 1810 10325 1820
rect 10395 1990 10435 2000
rect 10395 1970 10405 1990
rect 10425 1970 10435 1990
rect 10395 1940 10435 1970
rect 10395 1920 10405 1940
rect 10425 1920 10435 1940
rect 10395 1890 10435 1920
rect 10395 1870 10405 1890
rect 10425 1870 10435 1890
rect 10395 1840 10435 1870
rect 10395 1820 10405 1840
rect 10425 1820 10435 1840
rect 10235 1735 10275 1810
rect 10395 1735 10435 1820
rect 10505 1990 10545 2130
rect 10570 2065 10960 2075
rect 10570 2045 10580 2065
rect 10600 2045 10915 2065
rect 10570 2035 10915 2045
rect 10905 2030 10915 2035
rect 10950 2030 10960 2065
rect 10905 2020 10960 2030
rect 10505 1970 10515 1990
rect 10535 1970 10545 1990
rect 10505 1940 10545 1970
rect 10505 1920 10515 1940
rect 10535 1920 10545 1940
rect 10505 1890 10545 1920
rect 10505 1870 10515 1890
rect 10535 1870 10545 1890
rect 10505 1840 10545 1870
rect 10505 1820 10515 1840
rect 10535 1820 10545 1840
rect 10505 1810 10545 1820
rect 10615 1990 10655 2000
rect 10615 1970 10625 1990
rect 10645 1970 10655 1990
rect 10615 1940 10655 1970
rect 10615 1920 10625 1940
rect 10645 1920 10655 1940
rect 10615 1890 10655 1920
rect 10615 1870 10625 1890
rect 10645 1870 10655 1890
rect 10615 1840 10655 1870
rect 10615 1820 10625 1840
rect 10645 1820 10655 1840
rect 10615 1735 10655 1820
rect 10725 1990 10815 2000
rect 10725 1970 10735 1990
rect 10755 1970 10785 1990
rect 10805 1970 10815 1990
rect 10725 1940 10815 1970
rect 10725 1920 10735 1940
rect 10755 1920 10785 1940
rect 10805 1920 10815 1940
rect 10725 1890 10815 1920
rect 10725 1870 10735 1890
rect 10755 1870 10785 1890
rect 10805 1870 10815 1890
rect 10725 1840 10815 1870
rect 10725 1820 10735 1840
rect 10755 1820 10785 1840
rect 10805 1820 10815 1840
rect 10725 1810 10815 1820
rect 10725 1780 10765 1810
rect 10725 1760 10735 1780
rect 10755 1760 10765 1780
rect 10725 1735 10765 1760
rect 9155 1715 9185 1735
rect 9205 1715 9235 1735
rect 9255 1715 9285 1735
rect 9305 1715 9335 1735
rect 9355 1715 9385 1735
rect 9405 1715 9435 1735
rect 9455 1715 9485 1735
rect 9505 1715 9535 1735
rect 9555 1715 9585 1735
rect 9605 1715 9635 1735
rect 9655 1715 9685 1735
rect 9705 1715 9735 1735
rect 9755 1715 9785 1735
rect 9805 1715 9835 1735
rect 9855 1715 9885 1735
rect 9905 1715 9935 1735
rect 9955 1715 9985 1735
rect 10005 1715 10035 1735
rect 10055 1715 10085 1735
rect 10105 1715 10135 1735
rect 10155 1715 10185 1735
rect 10205 1715 10235 1735
rect 10255 1715 10285 1735
rect 10305 1715 10335 1735
rect 10355 1715 10385 1735
rect 10405 1715 10435 1735
rect 10455 1715 10485 1735
rect 10505 1715 10535 1735
rect 10555 1715 10585 1735
rect 10605 1715 10635 1735
rect 10655 1715 10685 1735
rect 10705 1715 10735 1735
rect 10755 1715 10765 1735
rect 10890 1600 10945 1610
rect 10890 1565 10900 1600
rect 10935 1565 10945 1600
rect 10890 1555 10945 1565
<< viali >>
rect 10900 3060 10935 3095
rect 9180 2565 9200 2585
rect 9230 2565 9250 2585
rect 9280 2565 9300 2585
rect 9330 2565 9350 2585
rect 9380 2565 9400 2585
rect 9430 2565 9450 2585
rect 9480 2565 9500 2585
rect 9530 2565 9550 2585
rect 9580 2565 9600 2585
rect 9630 2565 9650 2585
rect 9680 2565 9700 2585
rect 9730 2565 9750 2585
rect 9780 2565 9800 2585
rect 9830 2565 9850 2585
rect 9880 2565 9900 2585
rect 9930 2565 9950 2585
rect 9980 2565 10000 2585
rect 10030 2565 10050 2585
rect 10080 2565 10100 2585
rect 10130 2565 10150 2585
rect 10180 2565 10200 2585
rect 10230 2565 10250 2585
rect 10280 2565 10300 2585
rect 10330 2565 10350 2585
rect 10380 2565 10400 2585
rect 10430 2565 10450 2585
rect 10480 2565 10500 2585
rect 10530 2565 10550 2585
rect 10580 2565 10600 2585
rect 10630 2565 10650 2585
rect 10680 2565 10700 2585
rect 10730 2565 10750 2585
rect 10915 2225 10950 2260
rect 10915 2030 10950 2065
rect 9185 1715 9205 1735
rect 9235 1715 9255 1735
rect 9285 1715 9305 1735
rect 9335 1715 9355 1735
rect 9385 1715 9405 1735
rect 9435 1715 9455 1735
rect 9485 1715 9505 1735
rect 9535 1715 9555 1735
rect 9585 1715 9605 1735
rect 9635 1715 9655 1735
rect 9685 1715 9705 1735
rect 9735 1715 9755 1735
rect 9785 1715 9805 1735
rect 9835 1715 9855 1735
rect 9885 1715 9905 1735
rect 9935 1715 9955 1735
rect 9985 1715 10005 1735
rect 10035 1715 10055 1735
rect 10085 1715 10105 1735
rect 10135 1715 10155 1735
rect 10185 1715 10205 1735
rect 10235 1715 10255 1735
rect 10285 1715 10305 1735
rect 10335 1715 10355 1735
rect 10385 1715 10405 1735
rect 10435 1715 10455 1735
rect 10485 1715 10505 1735
rect 10535 1715 10555 1735
rect 10585 1715 10605 1735
rect 10635 1715 10655 1735
rect 10685 1715 10705 1735
rect 10735 1715 10755 1735
rect 10900 1565 10935 1600
<< metal1 >>
rect 9105 3095 10945 3105
rect 9105 3060 10900 3095
rect 10935 3060 10945 3095
rect 9105 3050 10945 3060
rect 9150 2585 10765 2595
rect 9150 2565 9180 2585
rect 9200 2565 9230 2585
rect 9250 2565 9280 2585
rect 9300 2565 9330 2585
rect 9350 2565 9380 2585
rect 9400 2565 9430 2585
rect 9450 2565 9480 2585
rect 9500 2565 9530 2585
rect 9550 2565 9580 2585
rect 9600 2565 9630 2585
rect 9650 2565 9680 2585
rect 9700 2565 9730 2585
rect 9750 2565 9780 2585
rect 9800 2565 9830 2585
rect 9850 2565 9880 2585
rect 9900 2565 9930 2585
rect 9950 2565 9980 2585
rect 10000 2565 10030 2585
rect 10050 2565 10080 2585
rect 10100 2565 10130 2585
rect 10150 2565 10180 2585
rect 10200 2565 10230 2585
rect 10250 2565 10280 2585
rect 10300 2565 10330 2585
rect 10350 2565 10380 2585
rect 10400 2565 10430 2585
rect 10450 2565 10480 2585
rect 10500 2565 10530 2585
rect 10550 2565 10580 2585
rect 10600 2565 10630 2585
rect 10650 2565 10680 2585
rect 10700 2565 10730 2585
rect 10750 2565 10765 2585
rect 9150 2555 10765 2565
rect 10905 2260 10960 2270
rect 10905 2225 10915 2260
rect 10950 2225 10960 2260
rect 10905 2215 10960 2225
rect 10905 2065 10960 2075
rect 10905 2030 10915 2065
rect 10950 2030 10960 2065
rect 10905 2020 10960 2030
rect 9155 1735 10765 1745
rect 9155 1715 9185 1735
rect 9205 1715 9235 1735
rect 9255 1715 9285 1735
rect 9305 1715 9335 1735
rect 9355 1715 9385 1735
rect 9405 1715 9435 1735
rect 9455 1715 9485 1735
rect 9505 1715 9535 1735
rect 9555 1715 9585 1735
rect 9605 1715 9635 1735
rect 9655 1715 9685 1735
rect 9705 1715 9735 1735
rect 9755 1715 9785 1735
rect 9805 1715 9835 1735
rect 9855 1715 9885 1735
rect 9905 1715 9935 1735
rect 9955 1715 9985 1735
rect 10005 1715 10035 1735
rect 10055 1715 10085 1735
rect 10105 1715 10135 1735
rect 10155 1715 10185 1735
rect 10205 1715 10235 1735
rect 10255 1715 10285 1735
rect 10305 1715 10335 1735
rect 10355 1715 10385 1735
rect 10405 1715 10435 1735
rect 10455 1715 10485 1735
rect 10505 1715 10535 1735
rect 10555 1715 10585 1735
rect 10605 1715 10635 1735
rect 10655 1715 10685 1735
rect 10705 1715 10735 1735
rect 10755 1715 10765 1735
rect 9155 1705 10765 1715
rect 9105 1600 10945 1610
rect 9105 1565 10900 1600
rect 10935 1565 10945 1600
rect 9105 1555 10945 1565
<< via1 >>
rect 10900 3060 10935 3095
rect 10915 2225 10950 2260
rect 10915 2030 10950 2065
rect 10900 1565 10935 1600
<< metal2 >>
rect 10890 3095 10945 3105
rect 10890 3060 10900 3095
rect 10935 3060 10945 3095
rect 10890 3050 10945 3060
rect 10905 2260 10960 2270
rect 10905 2225 10915 2260
rect 10950 2225 10960 2260
rect 10905 2215 10960 2225
rect 10905 2065 10960 2075
rect 10905 2030 10915 2065
rect 10950 2030 10960 2065
rect 10905 2020 10960 2030
rect 10890 1600 10945 1610
rect 10890 1565 10900 1600
rect 10935 1565 10945 1600
rect 10890 1555 10945 1565
<< via2 >>
rect 10900 3060 10935 3095
rect 10915 2225 10950 2260
rect 10915 2030 10950 2065
rect 10900 1565 10935 1600
<< metal3 >>
rect 10890 3095 10945 3105
rect 10890 3060 10900 3095
rect 10935 3060 10945 3095
rect 10890 3050 10945 3060
rect 10890 2390 11620 3050
rect 10905 2260 10960 2270
rect 10905 2225 10915 2260
rect 10950 2225 10960 2260
rect 10905 2215 10960 2225
rect 10905 2065 10960 2075
rect 10905 2030 10915 2065
rect 10950 2030 10960 2065
rect 10905 2020 10960 2030
rect 10890 1610 11300 1900
rect 10890 1600 10945 1610
rect 10890 1565 10900 1600
rect 10935 1565 10945 1600
rect 10890 1555 10945 1565
<< via3 >>
rect 10915 2225 10950 2260
rect 10915 2030 10950 2065
<< mimcap >>
rect 10905 2450 11605 3035
rect 10905 2415 10915 2450
rect 10950 2415 11605 2450
rect 10905 2405 11605 2415
rect 10905 1875 11285 1885
rect 10905 1840 10915 1875
rect 10950 1840 11285 1875
rect 10905 1625 11285 1840
<< mimcapcontact >>
rect 10915 2415 10950 2450
rect 10915 1840 10950 1875
<< metal4 >>
rect 10905 2450 10960 2460
rect 10905 2415 10915 2450
rect 10950 2415 10960 2450
rect 10905 2260 10960 2415
rect 10905 2225 10915 2260
rect 10950 2225 10960 2260
rect 10905 2215 10960 2225
rect 10905 2065 10960 2075
rect 10905 2030 10915 2065
rect 10950 2030 10960 2065
rect 10905 1875 10960 2030
rect 10905 1840 10915 1875
rect 10950 1840 10960 1875
rect 10905 1830 10960 1840
<< labels >>
flabel locali 10545 2105 10545 2105 3 FreeSans 400 0 160 0 vout
port 4 e
flabel metal1 9155 1725 9155 1725 7 FreeSans 400 0 -200 0 GNDA
port 2 w
flabel metal1 9150 2575 9150 2575 7 FreeSans 400 0 -200 0 VDDA
port 1 w
flabel poly 10610 2020 10610 2020 3 FreeSans 400 0 200 0 DOWN_input
port 9 e
flabel poly 10610 2270 10610 2270 3 FreeSans 400 0 200 0 UP_input
port 8 e
flabel locali 9095 2115 9095 2115 7 FreeSans 400 0 -200 0 I_IN
port 7 w
flabel locali 10005 2150 10005 2150 3 FreeSans 400 0 200 0 x
port 3 e
flabel poly 9510 2255 9510 2255 5 FreeSans 400 0 0 -200 opamp_out
port 10 s
flabel metal1 9105 3075 9105 3075 7 FreeSans 400 0 -200 0 UP_b
port 5 w
flabel metal1 9105 1580 9105 1580 7 FreeSans 400 0 -200 0 DOWN
port 6 w
<< end >>
